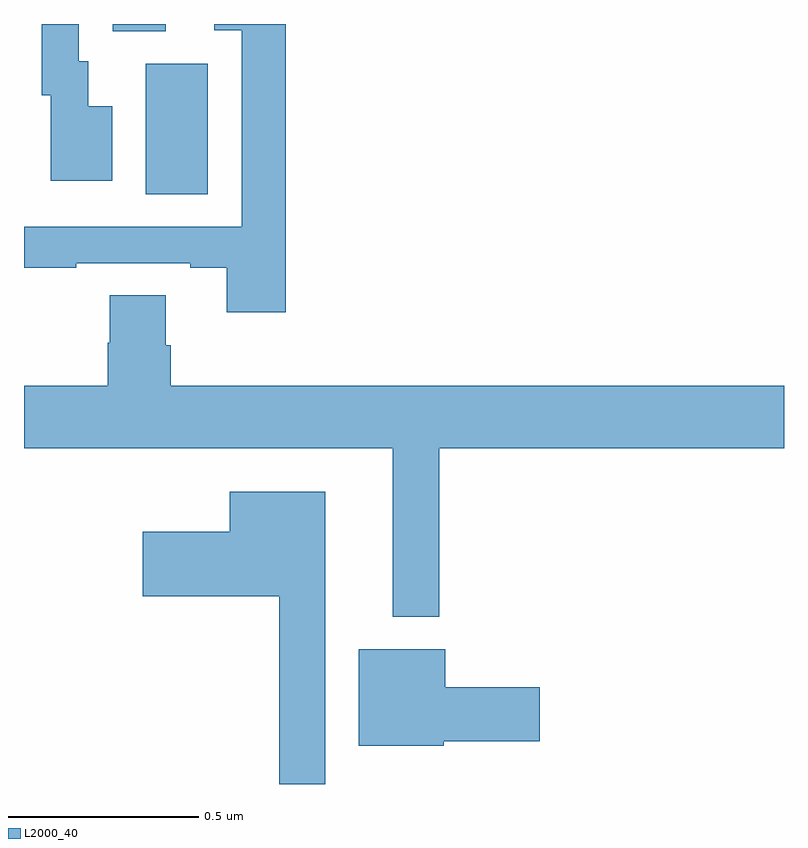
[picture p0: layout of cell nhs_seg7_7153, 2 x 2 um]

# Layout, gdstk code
import gdstk
lib = gdstk.Library(unit=1e-6, precision=1e-09)
def R(c, l, rs):  # rectangles x0, y0, x1, y1
    for r in rs: c.add(gdstk.rectangle(r[:2], r[2:], *l))
def P(c, l, *ps):  # polygons
    for p in ps: c.add(gdstk.Polygon(p, *l))
L2000_40 = (2000, 40)

nhs_seg7_7153 = lib.new_cell('nhs_seg7_7153')
R(nhs_seg7_7153, L2000_40, [(207.32,1066.552,207.484,1066.896), (207.233,1066.981,207.373,1067)])
P(nhs_seg7_7153, L2000_40, [(207.689,1067),(207.501,1067),(207.501,1066.983),(207.573,1066.983),(207.573,1066.467),(207,1066.467),(207,1066.359),(207.137,1066.359),(207.137,1066.371),(207.437,1066.371),(207.437,1066.359),(207.533,1066.359),(207.533,1066.242),(207.689,1066.242)],
  [(207.232,1066.783),(207.169,1066.783),(207.169,1066.902),(207.144,1066.902),(207.144,1067),(207.047,1067),(207.047,1066.812),(207.071,1066.812),(207.071,1066.587),(207.232,1066.587)],
  [(208.093,1065.884),(209,1065.884),(209,1066.048),(207.386,1066.048),(207.386,1066.154),(207.373,1066.154),(207.373,1066.286),(207.226,1066.286),(207.226,1066.161),(207.221,1066.161),(207.221,1066.048),(207,1066.048),(207,1065.884),(207.971,1065.884),(207.971,1065.44),(208.093,1065.44)],
  [(207.793,1065.769),(207.542,1065.769),(207.542,1065.664),(207.312,1065.664),(207.312,1065.494),(207.672,1065.494),(207.672,1065),(207.793,1065)],
  [(208.104,1065.112),(208.357,1065.112),(208.357,1065.254),(208.108,1065.254),(208.108,1065.355),(207.881,1065.355),(207.881,1065.101),(208.104,1065.101)])

lib.write_gds('nhs_seg7_7153.gds')
